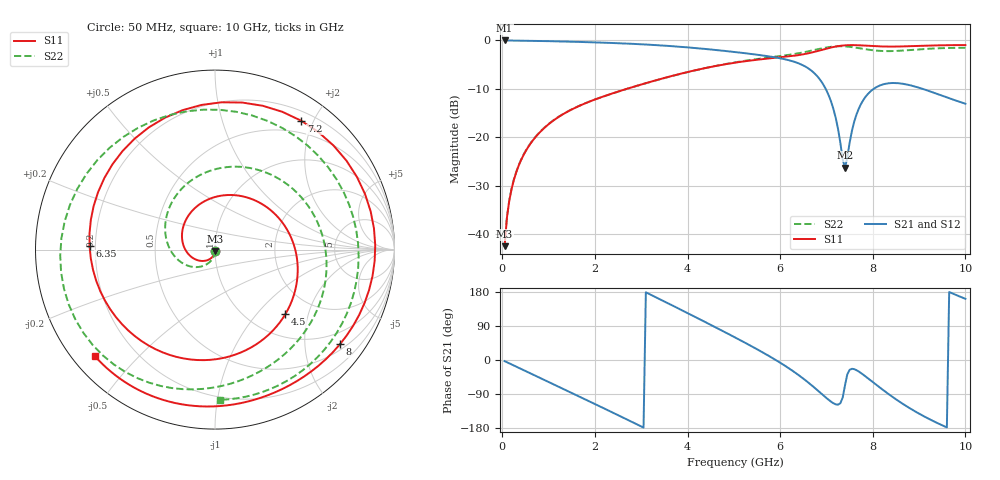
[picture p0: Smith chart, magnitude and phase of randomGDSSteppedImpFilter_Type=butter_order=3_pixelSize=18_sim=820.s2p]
! freq	dB(S11)	phase(S11)	dB(S12)	phase(S12)
!  dB(S21)	phase(S21)	dB(S22)	phase(S22)
!S-par simulation data
#  GHz  S  DB  R 50
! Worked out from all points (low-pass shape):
!   200 points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, 50 MHz to 10 GHz, reference 50 ohm
!   highest |S21| = -0.02 dB at 50 MHz (marker M1); lowest = -26.3 dB at 7.4 GHz (marker M2)
!   |S21| within 3 dB of the highest: start of sweep to 5.552 GHz
!   lowest |S11| = -42.4 dB at 50 MHz (marker M3), VSWR 1.02, Z = 50.1 - j0.748 ohm
!   |S11| at or under -10 dB: start of sweep to 2.686 GHz
!   |S22| runs from -42.4 to -1.2 dB; largest |S21 - S12| = 0
!   S11 on the Smith chart (normalised r, x): 50 MHz: 1.00, -0.01; 4.5 GHz: 1.44, -1.44; 6.35 GHz: 0.18, +0.01; 7.2 GHz: 0.32, +1.83; 8 GHz: 0.64, -2.84; 10 GHz: 0.06, -0.38
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0.05  -42.42 -80.3  -0.02 -3.0  -0.02 -3.0  -42.35 -79.1
0.2  -30.66 -100.9  -0.04 -11.7  -0.04 -11.7  -30.57 -95.7
0.5  -22.92 -125.2  -0.07 -29.1  -0.07 -29.1  -22.84 -111.9
1.15  -16.21 -173.2  -0.20 -66.7  -0.20 -66.7  -16.16 -141.6
1.75  -13.14 142.6  -0.34 -101.6  -0.34 -101.6  -13.12 -167.5
2.65  -10.11 76.8  -0.65 -154.5  -0.65 -154.5  -10.12 152.5
3.4  -8.01 25.5  -1.03 160.5  -1.03 160.5  -8.03 114.0
4.5  -5.48 -42.5  -1.88 92.8  -1.88 92.8  -5.47 47.4
5.05  -4.56 -76.1  -2.44 58.0  -2.44 58.0  -4.49 11.8
5.75  -3.74 -124.8  -3.29 11.2  -3.29 11.2  -3.54 -33.5
6.35  -3.11 178.4  -4.56 -35.6  -4.56 -35.6  -2.74 -72.9
6.7  -2.46 133.1  -6.44 -68.8  -6.44 -68.8  -2.06 -98.9
6.95  -1.83 95.3  -9.40 -95.1  -9.40 -95.1  -1.55 -121.2
7.2  -1.27 56.2  -15.97 -117.1  -15.97 -117.1  -1.23 -147.7
7.4  -1.03 27.1  -26.27 -67.1  -26.27 -67.1  -1.24 -171.6
7.65  -0.99 -4.1  -15.23 -26.9  -15.23 -26.9  -1.53 156.2
8  -1.18 -37.2  -10.13 -58.2  -10.13 -58.2  -2.04 108.5
8.35  -1.28 -61.4  -8.84 -90.7  -8.84 -90.7  -2.22 61.1
8.65  -1.25 -78.2  -8.95 -115.8  -8.95 -115.8  -2.10 24.3
9  -1.14 -95.5  -9.77 -141.6  -9.77 -141.6  -1.86 -12.2
9.5  -1.01 -117.8  -11.41 -172.4  -11.41 -172.4  -1.60 -54.0
10  -0.97 -138.5  -13.07 161.5  -13.07 161.5  -1.54 -87.9
